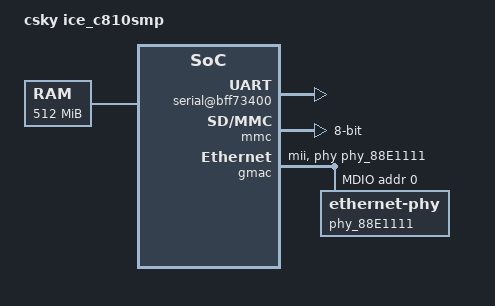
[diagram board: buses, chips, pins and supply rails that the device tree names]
/dts-v1/;
/ {
    model = "csky ice_c810smp";
    compatible = "csky,ice_c810smp";
    #address-cells = <1>;
    #size-cells = <1>;

    memory {
        device_type = "memory";
        reg = <0x80000000 0x20000000>;
    };

    cpus {
        #address-cells = <1>;
        #size-cells = <0>;
        timebase-frequency = <50000000>;
        cpu@0 {
            device_type = "cpu";
            reg = <0>;
            status = "okay";
            compatible = "csky";
            csky,isa = "Unknown";
        };
    };

    soc {
        #address-cells = <1>;
        #size-cells = <1>;
        compatible = "simple-bus";
        ranges;

        intc: interrupt-controller {
            compatible = "csky,mpintc";
            interrupt-controller;
            #interrupt-cells = <1>;
        };

        dummy_apb: apb-clock {
            compatible = "fixed-clock";
            clock-frequency = <50000000>;
            clock-output-names = "dummy_apb";
            #clock-cells = <0>;
        };

        serial@bff73400 {
            compatible = "snps,dw-apb-uart";
            reg = <0xbff73400 0x400>;
            interrupt-parent = <&intc>;
            interrupts = <39>;
            clocks = <&dummy_apb>;
            clock-frequency = <50000000>;
            clock-names = "baudclk";
            reg-shift = <2>;
            reg-io-width = <4>;
        };

        mmc: mmc0@bffb0000 {
            compatible = "snps,dw-mshc";
            reg = <0xbffb0000 0x400>;
            bus-width = <8>;
            clocks = <&dummy_apb>, <&dummy_apb>;
            clock-names = "biu", "ciu";
            max-frequency = <25000000>;
        };

        gmac: ethernet@bffc0000 {
            compatible = "snps,arc-dwmac-3.70a";
            reg = <0xbffc0000 0x2000>;
            interrupt-parent = <&intc>;
            interrupts = <56>;
            interrupt-names = "macirq";
            clocks = <&dummy_apb>;
            clock-names = "stmmaceth";
            snps,pbl = <32>;
            snps,fixed-burst;

            phy-mode = "mii";
            phy-handle = <&phy_88E1111>;
            max-speed = <100>;
            mdio0 {
                #address-cells = <1>;
                #size-cells = <0>;
                compatible = "snps,dwmac-mdio";

                phy_88E1111: ethernet-phy@0 {
                    reg = <0>;
                };
            };
        };
    };

    chosen {
        bootargs = "console=ttyS0,115200";
        stdout-path = "/soc/serial@bff73400:115200";
    };
};
